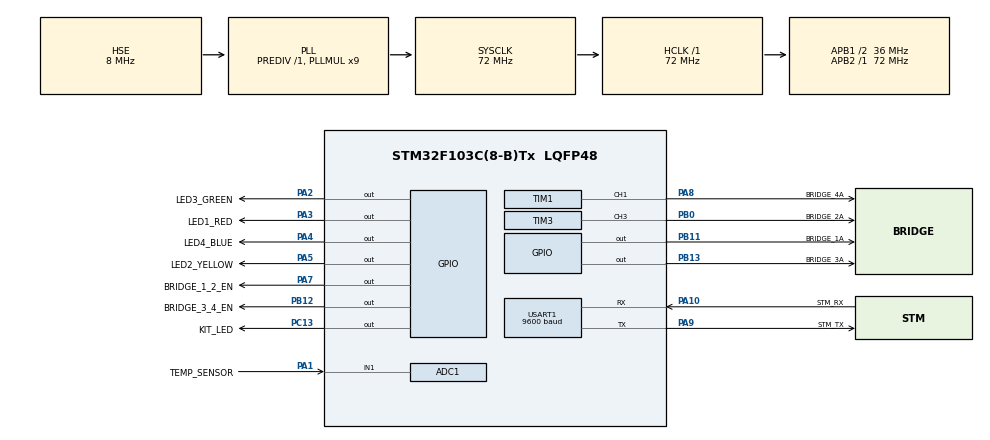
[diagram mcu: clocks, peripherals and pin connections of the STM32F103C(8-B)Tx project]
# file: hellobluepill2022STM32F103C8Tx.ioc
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ADC1.Channel-0\#ChannelRegularConversion=ADC_CHANNEL_1
ADC1.NbrOfConversionFlag=1
ADC1.Rank-0\#ChannelRegularConversion=1
ADC1.SamplingTime-0\#ChannelRegularConversion=ADC_SAMPLETIME_1CYCLE_5
ADC1.master=1
Dma.Request0=USART1_RX
Dma.Request1=USART1_TX
Dma.USART1_RX.0.Direction=DMA_PERIPH_TO_MEMORY
Dma.USART1_RX.0.Instance=DMA1_Channel5
Dma.USART1_RX.0.MemDataAlignment=DMA_MDATAALIGN_BYTE
Dma.USART1_RX.0.MemInc=DMA_MINC_ENABLE
Dma.USART1_RX.0.Mode=DMA_NORMAL
Dma.USART1_RX.0.PeriphDataAlignment=DMA_PDATAALIGN_BYTE
Dma.USART1_RX.0.PeriphInc=DMA_PINC_DISABLE
Dma.USART1_RX.0.Priority=DMA_PRIORITY_LOW
Dma.USART1_TX.1.Direction=DMA_MEMORY_TO_PERIPH
Dma.USART1_TX.1.Instance=DMA1_Channel4
Dma.USART1_TX.1.MemDataAlignment=DMA_MDATAALIGN_BYTE
Dma.USART1_TX.1.MemInc=DMA_MINC_ENABLE
Dma.USART1_TX.1.Mode=DMA_NORMAL
Dma.USART1_TX.1.PeriphDataAlignment=DMA_PDATAALIGN_BYTE
Dma.USART1_TX.1.PeriphInc=DMA_PINC_DISABLE
Dma.USART1_TX.1.Priority=DMA_PRIORITY_LOW
FREERTOS.BinarySemaphores01=ATCommandSemaphore,Static,ATCommandSemaphoreControlBlock;ATResponseSemaphore,Static,ATResponseSemaphoreControlBlock;UARTTXSemaphore,Static,UARTTXSemaphoreControlBlock;RadioStateSemaphore,Static,RadioStateSemaphoreControlBlock;LoRaTXSemaphore,Static,LoRaTXSemaphoreControlBlock
FREERTOS.Events01=ModemStatusFlags,Static,ModemStatusFlagsControlBlock
FREERTOS.Queues01=uartQueue,4,void*,0,Static,uartQueueBuffer,uartQueueControlBlock;ATQueue,4,void*,0,Static,ATQueueBuffer,ATQueueControlBlock;ModemSendQueue,4,void*,0,Static,ModemSendQueueBuffer,ModemSendQueueControlBlock;setPWMDutyQueue,4,void*,0,Static,setPWMDutyQueueBuffer,setPWMDutyQueueControlBlock
FREERTOS.Tasks01=defaultTask,24,128,StartDefaultTask,Default,NULL,Dynamic,NULL,NULL;ATParsingTask,39,256,ATParsingTaskCode,As external,NULL,Static,ATParsingTaskBuffer,ATParsingTaskControlBlock;ATHandlingTask,38,256,ATHandlingTaskCode,As external,NULL,Static,ATHandlingTaskBuffer,ATHandlingTaskControlBlock;UARTProcTask,47,256,UARTProcTaskCode,As external,NULL,Static,UARTProcTaskBuffer,UARTProcTaskControlBlock;ModemMngrTask,31,256,ModemManagerTaskCode,As external,NULL,Static,ModemMngrTaskBuffer,ModemMngrTaskControlBlock;AppSendTask,15,256,AppSendTaskCode,As external,NULL,Static,SendTemperatureBuffer,SendTemperatureControlBlock;setPWMDutyTask,15,256,setPWMDutyTaskCode,As external,NULL,Static,setPWMDutyTaskBuffer,setPWMDutyTaskControlBlock
FREERTOS.Timers01=PeriodicSendTimer,PeriodicSendTimerCallback,osTimerPeriodic,As external,NULL,Static,PeriodicSendTimerControlBlock;ModemLedTimer,ModemLedCallback,osTimerPeriodic,As external,NULL,Static,ModemLedTimerControlBlock;DutyCycleTimer,DutyCycleTimerCallback,osTimerOnce,As external,NULL,Static,DutyCycleTimerControlBlock
FREERTOS.configTOTAL_HEAP_SIZE=2048
FREERTOS.configUSE_TICKLESS_IDLE=1
Mcu.Family=STM32F1
Mcu.Name=STM32F103C(8-B)Tx
Mcu.Package=LQFP48
NVIC.DMA1_Channel4_IRQn=true\:5\:0\:false\:false\:true\:true\:false\:true\:true
NVIC.DMA1_Channel5_IRQn=true\:5\:0\:false\:false\:true\:true\:false\:true\:true
NVIC.PriorityGroup=NVIC_PRIORITYGROUP_4
NVIC.TIM1_CC_IRQn=true\:5\:0\:false\:false\:true\:true\:true\:true\:true
NVIC.TIM1_TRG_COM_IRQn=true\:5\:0\:false\:false\:true\:true\:true\:true\:true
NVIC.TIM4_IRQn=true\:15\:0\:false\:false\:true\:false\:false\:true\:true
NVIC.TimeBase=TIM4_IRQn
NVIC.TimeBaseIP=TIM4
NVIC.USART1_IRQn=true\:5\:0\:false\:false\:true\:true\:true\:true\:true
PA1.GPIO_Label=TEMP_SENSOR
PA1.Signal=ADCx_IN1
PA10.GPIO_Label=STM_RX
PA10.Mode=Asynchronous
PA10.Signal=USART1_RX
PA13.Mode=Serial_Wire
PA13.Signal=SYS_JTMS-SWDIO
PA14.Mode=Serial_Wire
PA14.Signal=SYS_JTCK-SWCLK
PA2.GPIO_Label=LED3_GREEN
PA2.Signal=GPIO_Output
PA3.GPIO_Label=LED1_RED
PA3.Signal=GPIO_Output
PA4.GPIO_Label=LED4_BLUE
PA4.Signal=GPIO_Output
PA5.GPIO_Label=LED2_YELLOW
PA5.Signal=GPIO_Output
PA7.GPIO_Label=BRIDGE_1_2_EN
PA7.PinState=GPIO_PIN_SET
PA7.Signal=GPIO_Output
PA8.GPIO_Label=BRIDGE_4A
PA8.Signal=S_TIM1_CH1
PA9.GPIO_Label=STM_TX
PA9.Mode=Asynchronous
PA9.Signal=USART1_TX
PB0.GPIO_Label=BRIDGE_2A
PB0.Signal=S_TIM3_CH3
PB11.GPIO_Label=BRIDGE_1A
PB11.PinState=GPIO_PIN_RESET
PB11.Signal=GPIO_Output
PB12.GPIO_Label=BRIDGE_3_4_EN
PB12.PinState=GPIO_PIN_SET
PB12.Signal=GPIO_Output
PB13.GPIO_Label=BRIDGE_3A
PB13.Signal=GPIO_Output
PC13-TAMPER-RTC.GPIO_Label=KIT_LED
PC13-TAMPER-RTC.Signal=GPIO_Output
PC14-OSC32_IN.Mode=LSE-External-Oscillator
PC14-OSC32_IN.Signal=RCC_OSC32_IN
PC15-OSC32_OUT.Mode=LSE-External-Oscillator
PC15-OSC32_OUT.Signal=RCC_OSC32_OUT
PD0-OSC_IN.Mode=HSE-External-Oscillator
PD0-OSC_IN.Signal=RCC_OSC_IN
PD1-OSC_OUT.Mode=HSE-External-Oscillator
PD1-OSC_OUT.Signal=RCC_OSC_OUT
ProjectManager.HeapSize=0x200
ProjectManager.StackSize=0x400
ProjectManager.TargetToolchain=Makefile
RCC.ADCPresc=RCC_ADCPCLK2_DIV6
RCC.AHBFreq_Value=72000000
RCC.APB1CLKDivider=RCC_HCLK_DIV2
RCC.APB1Freq_Value=36000000
RCC.APB1TimFreq_Value=72000000
RCC.APB2Freq_Value=72000000
RCC.APB2TimFreq_Value=72000000
RCC.HCLKFreq_Value=72000000
RCC.PLLMUL=RCC_PLL_MUL9
RCC.PLLSourceVirtual=RCC_PLLSOURCE_HSE
RCC.SYSCLKFreq_VALUE=72000000
RCC.SYSCLKSource=RCC_SYSCLKSOURCE_PLLCLK
RCC.USBFreq_Value=48000000
RCC.USBPrescaler=RCC_USBCLKSOURCE_PLL_DIV1_5
SH.ADCx_IN1.0=ADC1_IN1,IN1
SH.S_TIM1_CH1.0=TIM1_CH1,Output Compare1 CH1
SH.S_TIM3_CH3.0=TIM3_CH3,PWM Generation3 CH3
TIM1.Channel-Output\ Compare1\ CH1=TIM_CHANNEL_1
TIM1.OC1Preload=DISABLE
TIM1.OCIdleState_1=TIM_OCIDLESTATE_RESET
TIM1.OCMode_1=TIM_OCMODE_INACTIVE
TIM1.Period=7200-1
TIM1.Pulse-Output\ Compare1\ CH1=720-1
TIM3.Channel-PWM\ Generation3\ CH3=TIM_CHANNEL_3
TIM3.Period=7200-1
TIM3.Prescaler=0
TIM3.Pulse-PWM\ Generation3\ CH3=7200-1
USART1.BaudRate=9600
USART1.VirtualMode=VM_ASYNC
VP_FREERTOS_VS_CMSIS_V2.Mode=CMSIS_V2
VP_SYS_VS_tim4.Mode=TIM4
VP_TIM1_VS_ClockSourceINT.Mode=Internal
VP_TIM3_VS_ClockSourceINT.Mode=Internal
board=custom

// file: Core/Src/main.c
/* USER CODE BEGIN Header */
/**
  ******************************************************************************
  * @file           : main.c
  * @brief          : Main program body
  ******************************************************************************
  * @attention
  *
  * Copyright (c) 2022 STMicroelectronics.
  * All rights reserved.
  *
  * This software is licensed under terms that can be found in the LICENSE file
  * in the root directory of this software component.
  * If no LICENSE file comes with this software, it is provided AS-IS.
  *
  ******************************************************************************
  */
/* USER CODE END Header */
#include "main.h"
#include "cmsis_os.h"

typedef StaticTask_t osStaticThreadDef_t;
typedef StaticQueue_t osStaticMessageQDef_t;
typedef StaticTimer_t osStaticTimerDef_t;
typedef StaticSemaphore_t osStaticSemaphoreDef_t;
typedef StaticEventGroup_t osStaticEventGroupDef_t;

ADC_HandleTypeDef hadc1;

TIM_HandleTypeDef htim1;
TIM_HandleTypeDef htim3;

UART_HandleTypeDef huart1;
DMA_HandleTypeDef hdma_usart1_rx;
DMA_HandleTypeDef hdma_usart1_tx;

/* Definitions for defaultTask */
osThreadId_t defaultTaskHandle;
const osThreadAttr_t defaultTask_attributes = {
  .name = "defaultTask",
  .stack_size = 128 * 4,
  .priority = (osPriority_t) osPriorityNormal,
};
/* Definitions for ATParsingTask */
osThreadId_t ATParsingTaskHandle;
uint32_t ATParsingTaskBuffer[ 256 ];
osStaticThreadDef_t ATParsingTaskControlBlock;
const osThreadAttr_t ATParsingTask_attributes = {
  .name = "ATParsingTask",
  .cb_mem = &ATParsingTaskControlBlock,
  .cb_size = sizeof(ATParsingTaskControlBlock),
  .stack_mem = &ATParsingTaskBuffer[0],
  .stack_size = sizeof(ATParsingTaskBuffer),
  .priority = (osPriority_t) osPriorityAboveNormal7,
};
/* Definitions for ATHandlingTask */
osThreadId_t ATHandlingTaskHandle;
uint32_t ATHandlingTaskBuffer[ 256 ];
osStaticThreadDef_t ATHandlingTaskControlBlock;
const osThreadAttr_t ATHandlingTask_attributes = {
  .name = "ATHandlingTask",
  .cb_mem = &ATHandlingTaskControlBlock,
  .cb_size = sizeof(ATHandlingTaskControlBlock),
  .stack_mem = &ATHandlingTaskBuffer[0],
  .stack_size = sizeof(ATHandlingTaskBuffer),
  .priority = (osPriority_t) osPriorityAboveNormal6,
};
/* Definitions for UARTProcTask */
osThreadId_t UARTProcTaskHandle;
uint32_t UARTProcTaskBuffer[ 256 ];
osStaticThreadDef_t UARTProcTaskControlBlock;
const osThreadAttr_t UARTProcTask_attributes = {
  .name = "UARTProcTask",
  .cb_mem = &UARTProcTaskControlBlock,
  .cb_size = sizeof(UARTProcTaskControlBlock),
  .stack_mem = &UARTProcTaskBuffer[0],
  .stack_size = sizeof(UARTProcTaskBuffer),
  .priority = (osPriority_t) osPriorityHigh7,
};
/* Definitions for ModemMngrTask */
osThreadId_t ModemMngrTaskHandle;
uint32_t ModemMngrTaskBuffer[ 256 ];
osStaticThreadDef_t ModemMngrTaskControlBlock;
const osThreadAttr_t ModemMngrTask_attributes = {
  .name = "ModemMngrTask",
  .cb_mem = &ModemMngrTaskControlBlock,
  .cb_size = sizeof(ModemMngrTaskControlBlock),
  .stack_mem = &ModemMngrTaskBuffer[0],
  .stack_size = sizeof(ModemMngrTaskBuffer),
  .priority = (osPriority_t) osPriorityNormal7,
};
/* Definitions for AppSendTask */
osThreadId_t AppSendTaskHandle;
uint32_t SendTemperatureBuffer[ 256 ];
osStaticThreadDef_t SendTemperatureControlBlock;
const osThreadAttr_t AppSendTask_attributes = {
  .name = "AppSendTask",
  .cb_mem = &SendTemperatureControlBlock,
  .cb_size = sizeof(SendTemperatureControlBlock),
  .stack_mem = &SendTemperatureBuffer[0],
  .stack_size = sizeof(SendTemperatureBuffer),
  .priority = (osPriority_t) osPriorityLow7,
};
/* Definitions for setPWMDutyTask */
osThreadId_t setPWMDutyTaskHandle;
uint32_t setPWMDutyTaskBuffer[ 256 ];
osStaticThreadDef_t setPWMDutyTaskControlBlock;
const osThreadAttr_t setPWMDutyTask_attributes = {
  .name = "setPWMDutyTask",
  .cb_mem = &setPWMDutyTaskControlBlock,
  .cb_size = sizeof(setPWMDutyTaskControlBlock),
  .stack_mem = &setPWMDutyTaskBuffer[0],
  .stack_size = sizeof(setPWMDutyTaskBuffer),
  .priority = (osPriority_t) osPriorityLow7,
};
/* Definitions for uartQueue */
osMessageQueueId_t uartQueueHandle;
uint8_t uartQueueBuffer[ 4 * sizeof( void* ) ];
osStaticMessageQDef_t uartQueueControlBlock;
const osMessageQueueAttr_t uartQueue_attributes = {
  .name = "uartQueue",
  .cb_mem = &uartQueueControlBlock,
  .cb_size = sizeof(uartQueueControlBlock),
  .mq_mem = &uartQueueBuffer,
  .mq_size = sizeof(uartQueueBuffer)
};
/* Definitions for ATQueue */
osMessageQueueId_t ATQueueHandle;
uint8_t ATQueueBuffer[ 4 * sizeof( void* ) ];
osStaticMessageQDef_t ATQueueControlBlock;
const osMessageQueueAttr_t ATQueue_attributes = {
  .name = "ATQueue",
  .cb_mem = &ATQueueControlBlock,
  .cb_size = sizeof(ATQueueControlBlock),
  .mq_mem = &ATQueueBuffer,
  .mq_size = sizeof(ATQueueBuffer)
};
/* Definitions for ModemSendQueue */
osMessageQueueId_t ModemSendQueueHandle;
uint8_t ModemSendQueueBuffer[ 4 * sizeof( void* ) ];
osStaticMessageQDef_t ModemSendQueueControlBlock;
const osMessageQueueAttr_t ModemSendQueue_attributes = {
  .name = "ModemSendQueue",
  .cb_mem = &ModemSendQueueControlBlock,
  .cb_size = sizeof(ModemSendQueueControlBlock),
  .mq_mem = &ModemSendQueueBuffer,
  .mq_size = sizeof(ModemSendQueueBuffer)
};
/* Definitions for setPWMDutyQueue */
osMessageQueueId_t setPWMDutyQueueHandle;
uint8_t setPWMDutyQueueBuffer[ 4 * sizeof( void* ) ];
osStaticMessageQDef_t setPWMDutyQueueControlBlock;
const osMessageQueueAttr_t setPWMDutyQueue_attributes = {
  .name = "setPWMDutyQueue",
  .cb_mem = &setPWMDutyQueueControlBlock,
  .cb_size = sizeof(setPWMDutyQueueControlBlock),
  .mq_mem = &setPWMDutyQueueBuffer,
  .mq_size = sizeof(setPWMDutyQueueBuffer)
};
/* Definitions for PeriodicSendTimer */
osTimerId_t PeriodicSendTimerHandle;
osStaticTimerDef_t PeriodicSendTimerControlBlock;
const osTimerAttr_t PeriodicSendTimer_attributes = {
  .name = "PeriodicSendTimer",
  .cb_mem = &PeriodicSendTimerControlBlock,
  .cb_size = sizeof(PeriodicSendTimerControlBlock),
};
/* Definitions for ModemLedTimer */
osTimerId_t ModemLedTimerHandle;
osStaticTimerDef_t ModemLedTimerControlBlock;
const osTimerAttr_t ModemLedTimer_attributes = {
  .name = "ModemLedTimer",
  .cb_mem = &ModemLedTimerControlBlock,
  .cb_size = sizeof(ModemLedTimerControlBlock),
};
/* Definitions for DutyCycleTimer */
osTimerId_t DutyCycleTimerHandle;
osStaticTimerDef_t DutyCycleTimerControlBlock;
const osTimerAttr_t DutyCycleTimer_attributes = {
  .name = "DutyCycleTimer",
  .cb_mem = &DutyCycleTimerControlBlock,
  .cb_size = sizeof(DutyCycleTimerControlBlock),
};
/* Definitions for ATCommandSemaphore */
osSemaphoreId_t ATCommandSemaphoreHandle;
osStaticSemaphoreDef_t ATCommandSemaphoreControlBlock;
const osSemaphoreAttr_t ATCommandSemaphore_attributes = {
  .name = "ATCommandSemaphore",
  .cb_mem = &ATCommandSemaphoreControlBlock,
  .cb_size = sizeof(ATCommandSemaphoreControlBlock),
};
/* Definitions for ATResponseSemaphore */
osSemaphoreId_t ATResponseSemaphoreHandle;
osStaticSemaphoreDef_t ATResponseSemaphoreControlBlock;
const osSemaphoreAttr_t ATResponseSemaphore_attributes = {
  .name = "ATResponseSemaphore",
  .cb_mem = &ATResponseSemaphoreControlBlock,
  .cb_size = sizeof(ATResponseSemaphoreControlBlock),
};
/* Definitions for UARTTXSemaphore */
osSemaphoreId_t UARTTXSemaphoreHandle;
osStaticSemaphoreDef_t UARTTXSemaphoreControlBlock;
const osSemaphoreAttr_t UARTTXSemaphore_attributes = {
  .name = "UARTTXSemaphore",
  .cb_mem = &UARTTXSemaphoreControlBlock,
  .cb_size = sizeof(UARTTXSemaphoreControlBlock),
};
/* Definitions for RadioStateSemaphore */
osSemaphoreId_t RadioStateSemaphoreHandle;
osStaticSemaphoreDef_t RadioStateSemaphoreControlBlock;
const osSemaphoreAttr_t RadioStateSemaphore_attributes = {
  .name = "RadioStateSemaphore",
  .cb_mem = &RadioStateSemaphoreControlBlock,
  .cb_size = sizeof(RadioStateSemaphoreControlBlock),
};
/* Definitions for LoRaTXSemaphore */
osSemaphoreId_t LoRaTXSemaphoreHandle;
osStaticSemaphoreDef_t LoRaTXSemaphoreControlBlock;
const osSemaphoreAttr_t LoRaTXSemaphore_attributes = {
  .name = "LoRaTXSemaphore",
  .cb_mem = &LoRaTXSemaphoreControlBlock,
  .cb_size = sizeof(LoRaTXSemaphoreControlBlock),
};
/* Definitions for ModemStatusFlags */
osEventFlagsId_t ModemStatusFlagsHandle;
osStaticEventGroupDef_t ModemStatusFlagsControlBlock;
const osEventFlagsAttr_t ModemStatusFlags_attributes = {
  .name = "ModemStatusFlags",
  .cb_mem = &ModemStatusFlagsControlBlock,
  .cb_size = sizeof(ModemStatusFlagsControlBlock),
};

void SystemClock_Config(void);
static void MX_GPIO_Init(void);
static void MX_DMA_Init(void);
static void MX_USART1_UART_Init(void);
static void MX_ADC1_Init(void);
static void MX_TIM3_Init(void);
static void MX_TIM1_Init(void);
void StartDefaultTask(void *argument);
extern void ATParsingTaskCode(void *argument);
extern void ATHandlingTaskCode(void *argument);
extern void UARTProcTaskCode(void *argument);
extern void ModemManagerTaskCode(void *argument);
extern void AppSendTaskCode(void *argument);
extern void setPWMDutyTaskCode(void *argument);
extern void PeriodicSendTimerCallback(void *argument);
extern void ModemLedCallback(void *argument);
extern void DutyCycleTimerCallback(void *argument);

/* USER CODE BEGIN PFP */
void CONFIGURE_TIMER_FOR_RUN_TIME_STATS()
{
  HAL_TIM_Base_Start(&htim3); /* Define this to initialize your timer/counter */
}

uint32_t GET_RUN_TIME_COUNTER_VALUE()
{
  return __HAL_TIM_GET_COUNTER(&htim3); /* Define this to sample the timer/counter */
}

/* USER CODE END PFP */

/* USER CODE BEGIN 0 */
const volatile int uxTopUsedPriority = configMAX_PRIORITIES - 1; //this declaration enables thread awareness for FreeRTOS using OpenOCD

// Paste this code to Core/Inc/FreeRTOSConfig.h to enable kernel statistics (will be overwritten by STMCubeMX everytime code is generated)
// #define portCONFIGURE_TIMER_FOR_RUN_TIME_STATS() CONFIGURE_TIMER_FOR_RUN_TIME_STATS()/* Define this to initialize your timer/counter */
// #define portGET_RUN_TIME_COUNTER_VALUE() GET_RUN_TIME_COUNTER_VALUE()        /* Define this to sample the timer/counter */
// #define configGENERATE_RUN_TIME_STATS (1)
// #define configRECORD_STACK_HIGH_ADDRESS (1)
/* USER CODE END 0 */

int main(void)
{
  /* USER CODE BEGIN 1 */
  uint32_t i;
  (void)uxTopUsedPriority; //this declaration enables thread awareness for FreeRTOS using OpenOCD
  /* USER CODE END 1 */

  /* MCU Configuration--------------------------------------------------------*/

  /* Reset of all peripherals, Initializes the Flash interface and the Systick. */
  HAL_Init();

  /* Configure the system clock */
  SystemClock_Config();

  /* Initialize all configured peripherals */
  MX_GPIO_Init();
  MX_DMA_Init();
  MX_USART1_UART_Init();
  MX_ADC1_Init();
  MX_TIM3_Init();
  MX_TIM1_Init();
  /* USER CODE BEGIN 2 */
  HAL_TIM_OC_Start_IT(&htim1, TIM_CHANNEL_1);
  HAL_TIM_PWM_Start(&htim3, TIM_CHANNEL_3);
  /* USER CODE END 2 */

  /* Init scheduler */
  osKernelInitialize();

  /* Create the semaphores(s) */
  /* creation of ATCommandSemaphore */
  ATCommandSemaphoreHandle = osSemaphoreNew(1, 1, &ATCommandSemaphore_attributes);

  /* creation of ATResponseSemaphore */
  ATResponseSemaphoreHandle = osSemaphoreNew(1, 1, &ATResponseSemaphore_attributes);

  /* creation of UARTTXSemaphore */
  UARTTXSemaphoreHandle = osSemaphoreNew(1, 1, &UARTTXSemaphore_attributes);

  /* creation of RadioStateSemaphore */
  RadioStateSemaphoreHandle = osSemaphoreNew(1, 1, &RadioStateSemaphore_attributes);

  /* creation of LoRaTXSemaphore */
  LoRaTXSemaphoreHandle = osSemaphoreNew(1, 1, &LoRaTXSemaphore_attributes);

  /* Create the timer(s) */
  /* creation of PeriodicSendTimer */
  PeriodicSendTimerHandle = osTimerNew(PeriodicSendTimerCallback, osTimerPeriodic, NULL, &PeriodicSendTimer_attributes);

  /* creation of ModemLedTimer */
  ModemLedTimerHandle = osTimerNew(ModemLedCallback, osTimerPeriodic, NULL, &ModemLedTimer_attributes);

  /* creation of DutyCycleTimer */
  DutyCycleTimerHandle = osTimerNew(DutyCycleTimerCallback, osTimerOnce, NULL, &DutyCycleTimer_attributes);

  /* Create the queue(s) */
  /* creation of uartQueue */
  uartQueueHandle = osMessageQueueNew (4, sizeof(void*), &uartQueue_attributes);

  /* creation of ATQueue */
  ATQueueHandle = osMessageQueueNew (4, sizeof(void*), &ATQueue_attributes);

  /* creation of ModemSendQueue */
  ModemSendQueueHandle = osMessageQueueNew (4, sizeof(void*), &ModemSendQueue_attributes);

  /* creation of setPWMDutyQueue */
  setPWMDutyQueueHandle = osMessageQueueNew (4, sizeof(void*), &setPWMDutyQueue_attributes);

  /* Create the thread(s) */
  /* creation of defaultTask */
  defaultTaskHandle = osThreadNew(StartDefaultTask, NULL, &defaultTask_attributes);

  /* creation of ATParsingTask */
  ATParsingTaskHandle = osThreadNew(ATParsingTaskCode, NULL, &ATParsingTask_attributes);

  /* creation of ATHandlingTask */
  ATHandlingTaskHandle = osThreadNew(ATHandlingTaskCode, NULL, &ATHandlingTask_attributes);

  /* creation of UARTProcTask */
  UARTProcTaskHandle = osThreadNew(UARTProcTaskCode, NULL, &UARTProcTask_attributes);

  /* creation of ModemMngrTask */
  ModemMngrTaskHandle = osThreadNew(ModemManagerTaskCode, NULL, &ModemMngrTask_attributes);

  /* creation of AppSendTask */
  AppSendTaskHandle = osThreadNew(AppSendTaskCode, NULL, &AppSendTask_attributes);

  /* creation of setPWMDutyTask */
  setPWMDutyTaskHandle = osThreadNew(setPWMDutyTaskCode, NULL, &setPWMDutyTask_attributes);

  /* Create the event(s) */
  /* creation of ModemStatusFlags */
  ModemStatusFlagsHandle = osEventFlagsNew(&ModemStatusFlags_attributes);

  /* Start scheduler */
  osKernelStart();
  /* We should never get here as control is now taken by the scheduler */
  /* Infinite loop */
  /* USER CODE BEGIN WHILE */
  while (1)
  {
    for (i = 0; i < 13; i++)
    {
      HAL_GPIO_WritePin(KIT_LED_GPIO_Port, KIT_LED_Pin, 0);
      HAL_Delay(25);
      HAL_GPIO_WritePin(KIT_LED_GPIO_Port, KIT_LED_Pin, 1);
      HAL_Delay(50);
    }
    HAL_Delay(800);

    /* USER CODE END WHILE */

  }
}

void SystemClock_Config(void)
{
  RCC_OscInitTypeDef RCC_OscInitStruct = {0};
  RCC_ClkInitTypeDef RCC_ClkInitStruct = {0};
  RCC_PeriphCLKInitTypeDef PeriphClkInit = {0};

  /** Initializes the RCC Oscillators according to the specified parameters
  * in the RCC_OscInitTypeDef structure.
  */
  RCC_OscInitStruct.OscillatorType = RCC_OSCILLATORTYPE_HSE;
  RCC_OscInitStruct.HSEState = RCC_HSE_ON;
  RCC_OscInitStruct.HSEPredivValue = RCC_HSE_PREDIV_DIV1;
  RCC_OscInitStruct.HSIState = RCC_HSI_ON;
  RCC_OscInitStruct.PLL.PLLState = RCC_PLL_ON;
  RCC_OscInitStruct.PLL.PLLSource = RCC_PLLSOURCE_HSE;
  RCC_OscInitStruct.PLL.PLLMUL = RCC_PLL_MUL9;
  if (HAL_RCC_OscConfig(&RCC_OscInitStruct) != HAL_OK)
  {
    Error_Handler();
  }

  /** Initializes the CPU, AHB and APB buses clocks
  */
  RCC_ClkInitStruct.ClockType = RCC_CLOCKTYPE_HCLK|RCC_CLOCKTYPE_SYSCLK
                              |RCC_CLOCKTYPE_PCLK1|RCC_CLOCKTYPE_PCLK2;
  RCC_ClkInitStruct.SYSCLKSource = RCC_SYSCLKSOURCE_PLLCLK;
  RCC_ClkInitStruct.AHBCLKDivider = RCC_SYSCLK_DIV1;
  RCC_ClkInitStruct.APB1CLKDivider = RCC_HCLK_DIV2;
  RCC_ClkInitStruct.APB2CLKDivider = RCC_HCLK_DIV1;

  if (HAL_RCC_ClockConfig(&RCC_ClkInitStruct, FLASH_LATENCY_2) != HAL_OK)
  {
    Error_Handler();
  }
  PeriphClkInit.PeriphClockSelection = RCC_PERIPHCLK_ADC;
  PeriphClkInit.AdcClockSelection = RCC_ADCPCLK2_DIV6;
  if (HAL_RCCEx_PeriphCLKConfig(&PeriphClkInit) != HAL_OK)
  {
    Error_Handler();
  }
}

static void MX_ADC1_Init(void)
{

  ADC_ChannelConfTypeDef sConfig = {0};

  /** Common config
  */
  hadc1.Instance = ADC1;
  hadc1.Init.ScanConvMode = ADC_SCAN_DISABLE;
  hadc1.Init.ContinuousConvMode = DISABLE;
  hadc1.Init.DiscontinuousConvMode = DISABLE;
  hadc1.Init.ExternalTrigConv = ADC_SOFTWARE_START;
  hadc1.Init.DataAlign = ADC_DATAALIGN_RIGHT;
  hadc1.Init.NbrOfConversion = 1;
  if (HAL_ADC_Init(&hadc1) != HAL_OK)
  {
    Error_Handler();
  }

  /** Configure Regular Channel
  */
  sConfig.Channel = ADC_CHANNEL_1;
  sConfig.Rank = ADC_REGULAR_RANK_1;
  sConfig.SamplingTime = ADC_SAMPLETIME_1CYCLE_5;
  if (HAL_ADC_ConfigChannel(&hadc1, &sConfig) != HAL_OK)
  {
    Error_Handler();
  }

}

static void MX_TIM1_Init(void)
{

  TIM_ClockConfigTypeDef sClockSourceConfig = {0};
  TIM_MasterConfigTypeDef sMasterConfig = {0};
  TIM_OC_InitTypeDef sConfigOC = {0};
  TIM_BreakDeadTimeConfigTypeDef sBreakDeadTimeConfig = {0};

  htim1.Instance = TIM1;
  htim1.Init.Prescaler = 0;
  htim1.Init.CounterMode = TIM_COUNTERMODE_UP;
  htim1.Init.Period = 7200-1;
  htim1.Init.ClockDivision = TIM_CLOCKDIVISION_DIV1;
  htim1.Init.RepetitionCounter = 0;
  htim1.Init.AutoReloadPreload = TIM_AUTORELOAD_PRELOAD_DISABLE;
  if (HAL_TIM_Base_Init(&htim1) != HAL_OK)
  {
    Error_Handler();
  }
  sClockSourceConfig.ClockSource = TIM_CLOCKSOURCE_INTERNAL;
  if (HAL_TIM_ConfigClockSource(&htim1, &sClockSourceConfig) != HAL_OK)
  {
    Error_Handler();
  }
  if (HAL_TIM_OC_Init(&htim1) != HAL_OK)
  {
    Error_Handler();
  }
  sMasterConfig.MasterOutputTrigger = TIM_TRGO_RESET;
  sMasterConfig.MasterSlaveMode = TIM_MASTERSLAVEMODE_DISABLE;
  if (HAL_TIMEx_MasterConfigSynchronization(&htim1, &sMasterConfig) != HAL_OK)
  {
    Error_Handler();
  }
  sConfigOC.OCMode = TIM_OCMODE_INACTIVE;
  sConfigOC.Pulse = 720-1;
  sConfigOC.OCPolarity = TIM_OCPOLARITY_HIGH;
  sConfigOC.OCNPolarity = TIM_OCNPOLARITY_HIGH;
  sConfigOC.OCFastMode = TIM_OCFAST_DISABLE;
  sConfigOC.OCIdleState = TIM_OCIDLESTATE_RESET;
  sConfigOC.OCNIdleState = TIM_OCNIDLESTATE_RESET;
  if (HAL_TIM_OC_ConfigChannel(&htim1, &sConfigOC, TIM_CHANNEL_1) != HAL_OK)
  {
    Error_Handler();
  }
  sBreakDeadTimeConfig.OffStateRunMode = TIM_OSSR_DISABLE;
  sBreakDeadTimeConfig.OffStateIDLEMode = TIM_OSSI_DISABLE;
  sBreakDeadTimeConfig.LockLevel = TIM_LOCKLEVEL_OFF;
  sBreakDeadTimeConfig.DeadTime = 0;
  sBreakDeadTimeConfig.BreakState = TIM_BREAK_DISABLE;
  sBreakDeadTimeConfig.BreakPolarity = TIM_BREAKPOLARITY_HIGH;
  sBreakDeadTimeConfig.AutomaticOutput = TIM_AUTOMATICOUTPUT_DISABLE;
  if (HAL_TIMEx_ConfigBreakDeadTime(&htim1, &sBreakDeadTimeConfig) != HAL_OK)
  {
    Error_Handler();
  }
  HAL_TIM_MspPostInit(&htim1);

}

static void MX_TIM3_Init(void)
{

  TIM_ClockConfigTypeDef sClockSourceConfig = {0};
  TIM_MasterConfigTypeDef sMasterConfig = {0};
  TIM_OC_InitTypeDef sConfigOC = {0};

  htim3.Instance = TIM3;
  htim3.Init.Prescaler = 0;
  htim3.Init.CounterMode = TIM_COUNTERMODE_UP;
  htim3.Init.Period = 7200-1;
  htim3.Init.ClockDivision = TIM_CLOCKDIVISION_DIV1;
  htim3.Init.AutoReloadPreload = TIM_AUTORELOAD_PRELOAD_DISABLE;
  if (HAL_TIM_Base_Init(&htim3) != HAL_OK)
  {
    Error_Handler();
  }
  sClockSourceConfig.ClockSource = TIM_CLOCKSOURCE_INTERNAL;
  if (HAL_TIM_ConfigClockSource(&htim3, &sClockSourceConfig) != HAL_OK)
  {
    Error_Handler();
  }
  if (HAL_TIM_PWM_Init(&htim3) != HAL_OK)
  {
    Error_Handler();
  }
  sMasterConfig.MasterOutputTrigger = TIM_TRGO_RESET;
  sMasterConfig.MasterSlaveMode = TIM_MASTERSLAVEMODE_DISABLE;
  if (HAL_TIMEx_MasterConfigSynchronization(&htim3, &sMasterConfig) != HAL_OK)
  {
    Error_Handler();
  }
  sConfigOC.OCMode = TIM_OCMODE_PWM1;
  sConfigOC.Pulse = 7200-1;
  sConfigOC.OCPolarity = TIM_OCPOLARITY_HIGH;
  sConfigOC.OCFastMode = TIM_OCFAST_DISABLE;
  if (HAL_TIM_PWM_ConfigChannel(&htim3, &sConfigOC, TIM_CHANNEL_3) != HAL_OK)
  {
    Error_Handler();
  }
  HAL_TIM_MspPostInit(&htim3);

}

static void MX_USART1_UART_Init(void)
{

  huart1.Instance = USART1;
  huart1.Init.BaudRate = 9600;
  huart1.Init.WordLength = UART_WORDLENGTH_8B;
  huart1.Init.StopBits = UART_STOPBITS_1;
  huart1.Init.Parity = UART_PARITY_NONE;
  huart1.Init.Mode = UART_MODE_TX_RX;
  huart1.Init.HwFlowCtl = UART_HWCONTROL_NONE;
  huart1.Init.OverSampling = UART_OVERSAMPLING_16;
  if (HAL_UART_Init(&huart1) != HAL_OK)
  {
    Error_Handler();
  }

}

static void MX_DMA_Init(void)
{

  /* DMA controller clock enable */
  __HAL_RCC_DMA1_CLK_ENABLE();

  /* DMA interrupt init */
  /* DMA1_Channel4_IRQn interrupt configuration */
  HAL_NVIC_SetPriority(DMA1_Channel4_IRQn, 5, 0);
  HAL_NVIC_EnableIRQ(DMA1_Channel4_IRQn);
  /* DMA1_Channel5_IRQn interrupt configuration */
  HAL_NVIC_SetPriority(DMA1_Channel5_IRQn, 5, 0);
  HAL_NVIC_EnableIRQ(DMA1_Channel5_IRQn);

}

static void MX_GPIO_Init(void)
{
  GPIO_InitTypeDef GPIO_InitStruct = {0};

  /* GPIO Ports Clock Enable */
  __HAL_RCC_GPIOC_CLK_ENABLE();
  __HAL_RCC_GPIOD_CLK_ENABLE();
  __HAL_RCC_GPIOA_CLK_ENABLE();
  __HAL_RCC_GPIOB_CLK_ENABLE();

  /*Configure GPIO pin Output Level */
  HAL_GPIO_WritePin(KIT_LED_GPIO_Port, KIT_LED_Pin, GPIO_PIN_RESET);

  /*Configure GPIO pin Output Level */
  HAL_GPIO_WritePin(GPIOA, LED3_GREEN_Pin|LED1_RED_Pin|LED4_BLUE_Pin|LED2_YELLOW_Pin, GPIO_PIN_RESET);

  /*Configure GPIO pin Output Level */
  HAL_GPIO_WritePin(BRIDGE_1_2_EN_GPIO_Port, BRIDGE_1_2_EN_Pin, GPIO_PIN_SET);

  /*Configure GPIO pin Output Level */
  HAL_GPIO_WritePin(GPIOB, BRIDGE_1A_Pin|BRIDGE_3A_Pin, GPIO_PIN_RESET);

  /*Configure GPIO pin Output Level */
  HAL_GPIO_WritePin(BRIDGE_3_4_EN_GPIO_Port, BRIDGE_3_4_EN_Pin, GPIO_PIN_SET);

  /*Configure GPIO pin : KIT_LED_Pin */
  GPIO_InitStruct.Pin = KIT_LED_Pin;
  GPIO_InitStruct.Mode = GPIO_MODE_OUTPUT_PP;
  GPIO_InitStruct.Pull = GPIO_NOPULL;
  GPIO_InitStruct.Speed = GPIO_SPEED_FREQ_LOW;
  HAL_GPIO_Init(KIT_LED_GPIO_Port, &GPIO_InitStruct);

  /*Configure GPIO pins : LED3_GREEN_Pin LED1_RED_Pin LED4_BLUE_Pin LED2_YELLOW_Pin
                           BRIDGE_1_2_EN_Pin */
  GPIO_InitStruct.Pin = LED3_GREEN_Pin|LED1_RED_Pin|LED4_BLUE_Pin|LED2_YELLOW_Pin
                          |BRIDGE_1_2_EN_Pin;
  GPIO_InitStruct.Mode = GPIO_MODE_OUTPUT_PP;
  GPIO_InitStruct.Pull = GPIO_NOPULL;
  GPIO_InitStruct.Speed = GPIO_SPEED_FREQ_LOW;
  HAL_GPIO_Init(GPIOA, &GPIO_InitStruct);

  /*Configure GPIO pins : BRIDGE_1A_Pin BRIDGE_3_4_EN_Pin BRIDGE_3A_Pin */
  GPIO_InitStruct.Pin = BRIDGE_1A_Pin|BRIDGE_3_4_EN_Pin|BRIDGE_3A_Pin;
  GPIO_InitStruct.Mode = GPIO_MODE_OUTPUT_PP;
  GPIO_InitStruct.Pull = GPIO_NOPULL;
  GPIO_InitStruct.Speed = GPIO_SPEED_FREQ_LOW;
  HAL_GPIO_Init(GPIOB, &GPIO_InitStruct);

}

/* USER CODE BEGIN 4 */
extern AC_CONTROLLER_OBJ_t ocPWM_data;
HAL_TIM_OC_DelayElapsedCallback(TIM_HandleTypeDef *htim)
{
  if(htim==&htim1)
  {
    if (htim1.Instance->CCR1 == (htim1.Instance->ARR *(ocPWM_data.compressor_power/2))/100)
    {
      /* Reset the Output Compare Mode Bits */
      htim1.Instance->CCMR1 &= ~TIM_CCMR1_OC1M;
      /* Set */
      htim1.Instance->CCMR1 |= TIM_OCMODE_ACTIVE;
      htim1.Instance->CCR1 = (htim1.Instance->ARR * (100-ocPWM_data.compressor_power/2)) / 100;
    }
    else
    {
      /* Reset the Output Compare Mode Bits */
      htim1.Instance->CCMR1 &= ~TIM_CCMR1_OC1M;
      /* Set */
      htim1.Instance->CCMR1 |= TIM_OCMODE_INACTIVE;
      htim1.Instance->CCR1 = (htim1.Instance->ARR *(ocPWM_data.compressor_power/2)) / 100;
    }
  }
}
/* USER CODE END 4 */

void StartDefaultTask(void *argument)
{
  for(;;)
  {
    osDelay(1);
  }
}

void HAL_TIM_PeriodElapsedCallback(TIM_HandleTypeDef *htim)
{
  if (htim->Instance == TIM4) {
    HAL_IncTick();
  }
}

void Error_Handler(void)
{
  __disable_irq();
  while (1)
  {
  }
}
